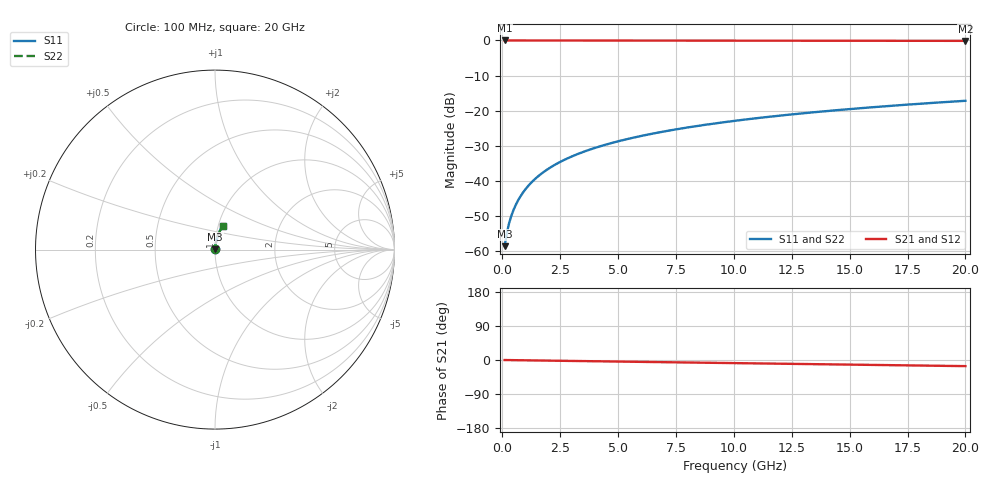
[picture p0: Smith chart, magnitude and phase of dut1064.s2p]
! Touchstone file exported from HFSS 2026.1.0
!  File:  C:/ffzhzh/LocalFiles/Ansys_Project_Files/temp_train_TMRDL_1064_1783160611_43440.aedt
!  Generated:  06:24:47 PM Jul  4, 2026
!  Design:  TMRDL
!  Project:  temp_train_TMRDL_1064_1783160611_43440
! Variables:
!  h_bsmrdl = 2um
!  h_ox = 20um
!  h_rdl = 5um
!  h_sub = 80um
!  h_tmrdl = 4.47um
!  h_tsv = 80um
!  h_via = 3um
!  l_bsmrdl = 300um
!  l_sub = 615.66um
!  l_tmrdl = 215.66um
!  m_sub = 200um
!  pitch = 49.69um
!  r_tsv = 6um
!  s_tmrdl = 10um
!  w_bsmrdl = 18um
!  w_sub = 500um
!  w_tmrdl = 27.66um
!  x_tsv_center1 = 229.49um
!  x_tsv_center2 = 547.49um
!  x_tsv_center3 = 790.81um
!  x_tsv_center4 = 1108.81um
!  x_tsv_center5 = 1352.13um
!  x_tsv_center6 = 1670.13um
# GHz S MA R 50.000000
! Terminal data exported
! Port[1] = TM_RDL1_1_T1
! Port[2] = TM_RDL1_1_T2
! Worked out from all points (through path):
!   200 points, 100 MHz to 20 GHz, reference 50 ohm
!   highest |S21| = -0.01 dB at 100 MHz (marker M1); lowest = -0.1 dB at 20 GHz (marker M2)
!   group delay of S21, straight-line fit = 2.24 ps
!   lowest |S11| = -58.6 dB at 100 MHz (marker M3), VSWR 1.00, Z = 50.1 + j0.0834 ohm
!   |S11| at or under -10 dB: start of sweep to end of sweep
!   |S22| runs from -58.6 to -17.2 dB; largest |S21 - S12| = 3.3e-15
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0.1  0.00117 45.4  0.9992 -0.1  0.9992 -0.1  0.00117 45.4
! Gamma 0 0 0 0
! Port Impedance 50 0 50 0
0.2  0.001839 60.9  0.9991 -0.2  0.9991 -0.2  0.001839 60.9
0.3  0.002533 68.0  0.9991 -0.3  0.9991 -0.3  0.002533 68.0
0.4  0.003235 72.2  0.999 -0.3  0.999 -0.3  0.003235 72.2
0.5  0.003946 75.0  0.999 -0.4  0.999 -0.4  0.003946 75.0
0.6  0.004664 76.9  0.999 -0.5  0.999 -0.5  0.004664 76.9
0.8  0.006115 79.5  0.9989 -0.7  0.9989 -0.7  0.006115 79.5
1.1  0.008311 81.6  0.9989 -0.9  0.9989 -0.9  0.008311 81.6
1.5  0.01125 82.8  0.9988 -1.3  0.9988 -1.3  0.01125 82.8
1.8  0.01345 83.3  0.9987 -1.5  0.9987 -1.5  0.01345 83.3
2.1  0.01565 83.6  0.9986 -1.8  0.9986 -1.8  0.01565 83.5
2.7  0.02003 83.7  0.9984 -2.3  0.9984 -2.3  0.02003 83.7
3.5  0.02581 83.4  0.998 -2.9  0.998 -2.9  0.02581 83.4
4.2  0.03083 83.1  0.9977 -3.5  0.9977 -3.5  0.03083 83.1
5  0.03651 82.6  0.9973 -4.1  0.9973 -4.1  0.03651 82.6
5.9  0.04285 82.1  0.9968 -4.9  0.9968 -4.9  0.04285 82.1
6.8  0.04915 81.5  0.9963 -5.6  0.9963 -5.6  0.04915 81.5
8.3  0.05956 80.5  0.9954 -6.8  0.9954 -6.8  0.05956 80.5
10.1  0.07195 79.2  0.9943 -8.3  0.9943 -8.3  0.07195 79.2
13.4  0.09438 76.9  0.9919 -10.9  0.9919 -10.9  0.09438 76.9
16.7  0.1164 74.4  0.9891 -13.6  0.9891 -13.6  0.1164 74.4
20  0.138 72.0  0.986 -16.2  0.986 -16.2  0.138 72.0
